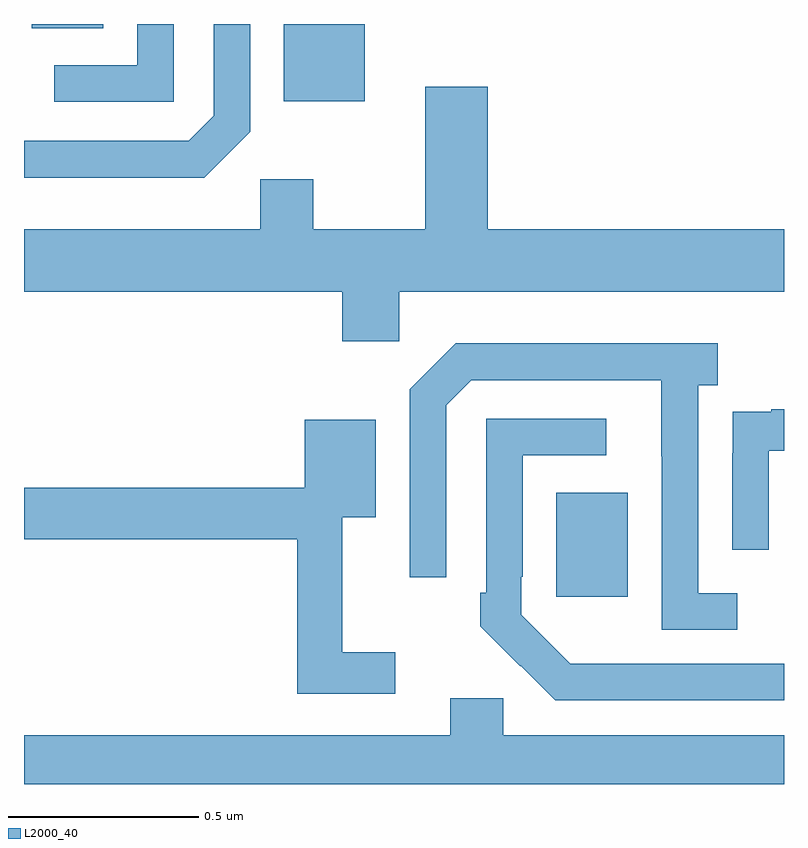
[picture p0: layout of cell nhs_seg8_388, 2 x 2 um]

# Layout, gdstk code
import gdstk
lib = gdstk.Library(unit=1e-6, precision=1e-09)
def R(c, l, rs):  # rectangles x0, y0, x1, y1
    for r in rs: c.add(gdstk.rectangle(r[:2], r[2:], *l))
def P(c, l, *ps):  # polygons
    for p in ps: c.add(gdstk.Polygon(p, *l))
L2000_40 = (2000, 40)

nhs_seg8_388 = lib.new_cell('nhs_seg8_388')
R(nhs_seg8_388, L2000_40, [(117.401,1086.393,117.589,1086.667), (116.684,1087.697,116.897,1087.9), (116.021,1087.889,116.209,1087.9)])
P(nhs_seg8_388, L2000_40, [(116.394,1087.9),(116.298,1087.9),(116.298,1087.791),(116.079,1087.791),(116.079,1087.695),(116.394,1087.695)],
  [(116.595,1087.617),(116.595,1087.9),(116.499,1087.9),(116.499,1087.659),(116.433,1087.593),(116,1087.593),(116,1087.496),(116.474,1087.496)],
  [(116.988,1087.196),(118,1087.196),(118,1087.36),(117.22,1087.36),(117.22,1087.735),(117.056,1087.735),(117.056,1087.36),(116.761,1087.36),(116.761,1087.492),(116.622,1087.492),(116.622,1087.36),(116,1087.36),(116,1087.196),(116.837,1087.196),(116.837,1087.065),(116.988,1087.065)],
  [(117.877,1086.402),(117.774,1086.402),(117.774,1086.95),(117.826,1086.95),(117.826,1087.06),(117.136,1087.06),(117.015,1086.939),(117.015,1086.444),(117.111,1086.444),(117.111,1086.897),(117.177,1086.963),(117.677,1086.963),(117.677,1086.763),(117.678,1086.763),(117.678,1086.306),(117.877,1086.306)],
  [(117.96,1086.777),(118,1086.777),(118,1086.886),(117.967,1086.886),(117.967,1086.879),(117.865,1086.879),(117.865,1086.77),(117.864,1086.77),(117.864,1086.516),(117.96,1086.516)],
  [(118,1086.216),(117.541,1086.216),(117.541,1086.217),(117.438,1086.217),(117.309,1086.345),(117.309,1086.445),(117.312,1086.445),(117.312,1086.765),(117.532,1086.765),(117.532,1086.861),(117.216,1086.861),(117.216,1086.403),(117.201,1086.403),(117.201,1086.315),(117.306,1086.21),(117.307,1086.211),(117.398,1086.12),(118,1086.12)],
  [(116.977,1086.247),(116.837,1086.247),(116.837,1086.602),(116.926,1086.602),(116.926,1086.859),(116.739,1086.859),(116.739,1086.68),(116,1086.68),(116,1086.544),(116.719,1086.544),(116.719,1086.138),(116.977,1086.138)],
  [(118,1086.028),(117.261,1086.028),(117.261,1086.126),(117.122,1086.126),(117.122,1086.028),(116,1086.028),(116,1085.9),(118,1085.9)])

lib.write_gds('nhs_seg8_388.gds')
